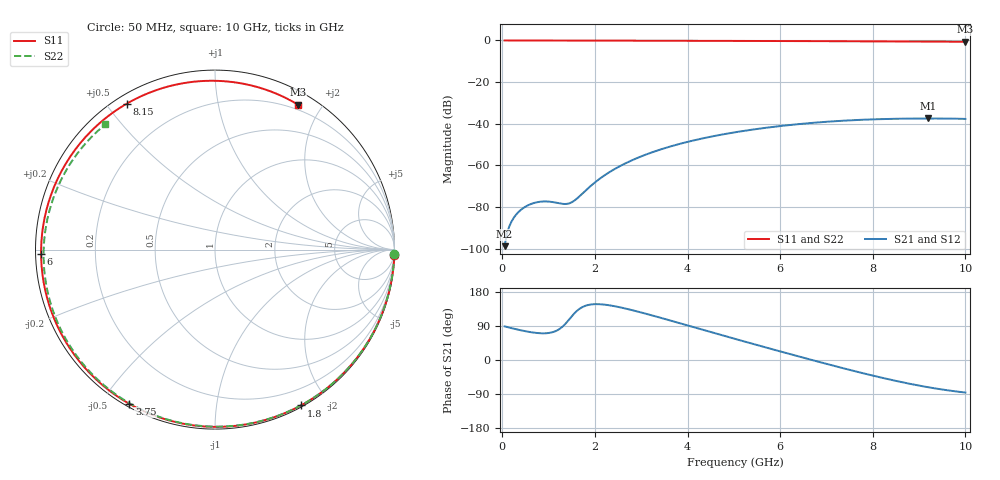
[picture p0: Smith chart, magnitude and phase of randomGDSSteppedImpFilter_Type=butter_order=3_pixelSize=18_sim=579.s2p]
! freq	dB(S11)	phase(S11)	dB(S12)	phase(S12)
!  dB(S21)	phase(S21)	dB(S22)	phase(S22)
!S-par simulation data
#  GHz  S  DB  R 50
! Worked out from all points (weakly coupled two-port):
!   200 points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, 50 MHz to 10 GHz, reference 50 ohm
!   highest |S21| = -37.49 dB at 9.2 GHz (marker M1); lowest = -98.8 dB at 50 MHz (marker M2)
!   lowest |S11| = -0.6 dB at 10 GHz (marker M3), VSWR 27.81, Z = 7.13 + j85.8 ohm
!   |S11| at or under -10 dB: nowhere
!   |S22| runs from -0.7 to 0.0 dB; largest |S21 - S12| = 0
!   S11 on the Smith chart (normalised r, x): 50 MHz: 0, -65; 1.8 GHz: 0.02, -1.69; 3.75 GHz: 0.01, -0.59; 6 GHz: 0.02, -0.01; 8.15 GHz: 0.03, +0.56; 10 GHz: 0.14, +1.72
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0.05  -0.00 -1.8  -98.83 88.8  -98.83 88.8  -0.00 -1.3
0.5  -0.02 -17.5  -79.85 75.9  -79.85 75.9  -0.02 -12.9
0.7  -0.03 -24.4  -77.99 71.9  -77.99 71.9  -0.02 -18.0
0.9  -0.04 -31.3  -77.34 70.4  -77.34 70.4  -0.03 -23.2
1.4  -0.06 -48.1  -78.50 100.6  -78.50 100.6  -0.05 -35.8
1.55  -0.07 -53.0  -77.05 122.2  -77.05 122.2  -0.05 -39.5
1.75  -0.07 -59.5  -73.13 140.8  -73.13 140.8  -0.06 -44.4
1.8  -0.08 -61.1  -72.09 143.3  -72.09 143.3  -0.06 -45.7
2.15  -0.09 -72.2  -65.69 146.8  -65.69 146.8  -0.07 -54.2
2.5  -0.10 -83.0  -60.86 140.1  -60.86 140.1  -0.08 -62.5
2.9  -0.11 -94.9  -56.60 128.6  -56.60 128.6  -0.09 -71.9
3.4  -0.13 -109.3  -52.50 112.1  -52.50 112.1  -0.11 -83.3
3.75  -0.15 -119.0  -50.17 100.0  -50.17 100.0  -0.12 -91.1
4.4  -0.18 -136.6  -46.70 77.4  -46.70 77.4  -0.15 -105.3
5.05  -0.21 -153.8  -44.03 54.9  -44.03 54.9  -0.18 -119.0
6  -0.27 -178.6  -41.13 22.7  -41.13 22.7  -0.24 -138.7
6.7  -0.32 162.6  -39.59 -0.5  -39.59 -0.5  -0.29 -153.1
7.4  -0.38 143.2  -38.50 -22.9  -38.50 -22.9  -0.35 -167.8
8.15  -0.44 121.1  -37.81 -45.5  -37.81 -45.5  -0.42 176.0
8.35  -0.46 114.9  -37.69 -51.1  -37.69 -51.1  -0.44 171.5
9.2  -0.54 87.6  -37.49 -72.0  -37.49 -72.0  -0.55 151.6
10  -0.62 60.2  -37.69 -85.9  -37.69 -85.9  -0.65 131.2
